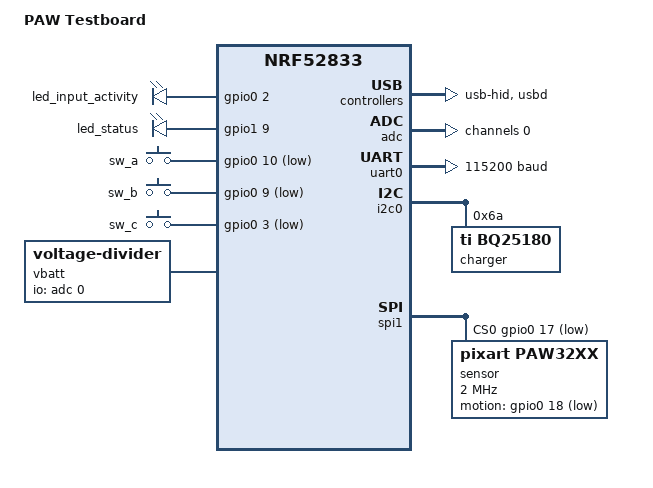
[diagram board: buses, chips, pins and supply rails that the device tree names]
/dts-v1/;
#include <nordic/nrf52833_qdaa.dtsi>
#include "paw_testboard-pinctrl.dtsi"
#include <zephyr/dt-bindings/input/input-event-codes.h>
#include <dt-bindings/hid.h>

/ {
	model = "PAW Testboard";
	compatible = "balto,paw-testboard";

	chosen {
		zephyr,console = &uart0;
		zephyr,shell-uart = &uart0;
		zephyr,sram = &sram0;
		zephyr,flash = &flash0;
		zephyr,code-partition = &slot0_partition;
	};

	leds {
		compatible = "gpio-leds";
		led_input_activity: led_b {
			gpios = <&gpio0 2 GPIO_ACTIVE_HIGH>;
		};
		led_status: led_a {
			gpios = <&gpio1 9 GPIO_ACTIVE_HIGH>;
		};
	};

	buttons: buttons {
		compatible = "gpio-keys";
		sw_a {
			gpios = <&gpio0 10 (GPIO_PULL_UP | GPIO_ACTIVE_LOW)>;
			zephyr,code = <INPUT_BTN_LEFT>;
		};
		sw_b {
			gpios = <&gpio0 9 (GPIO_PULL_UP | GPIO_ACTIVE_LOW)>;
			zephyr,code = <INPUT_BTN_MIDDLE>;
		};
		sw_c {
			gpios = <&gpio0 3 (GPIO_PULL_UP | GPIO_ACTIVE_LOW)>;
			zephyr,code = <INPUT_BTN_RIGHT>;
		};
	};

	vbatt: vbatt {
		compatible = "voltage-divider";
		io-channels = <&adc 0>;
		output-ohms = <(560 * 1000)>;
		full-ohms = <(560 * 1000 * 2)>;
	};

	hid {
		compatible = "hid";
		input {
			hid-mouse {
				compatible = "hid-mouse";
				input = <&paw &buttons>;
				input-id = <1>;
				report = <HID_MOUSE_REPORT(1)>;
			};
		};
		output {
			hid-hog {
				compatible = "hid-hog";
			};
			usb-hid {
				compatible = "usb-hid";
				usb-hid-dev = <&hid_dev_0>;
			};
		};
	};

	hid_dev_0: hid_dev_0 {
		compatible = "zephyr,hid-device";
		interface-name = "HID0";
		in-report-size = <16>;
		in-polling-period-us = <1000>;
	};

	ble-unpair {
		input = <&buttons>;
		compatible = "ble-unpair";
		key-a = <INPUT_BTN_LEFT>;
		key-b = <INPUT_BTN_RIGHT>;
	};
};

&uicr {
	nfct-pins-as-gpios;
};

&adc {
	status = "okay";
	#address-cells = <1>;
	#size-cells = <0>;

	channel@0 {
		reg = <0>;
		zephyr,gain = "ADC_GAIN_1_6";
		zephyr,reference = "ADC_REF_INTERNAL";
		zephyr,acquisition-time = <ADC_ACQ_TIME(ADC_ACQ_TIME_MICROSECONDS, 40)>;
		zephyr,input-positive = <NRF_SAADC_AIN2>;
		zephyr,resolution = <10>;
	};
};

&gpiote {
	status = "okay";
};

&gpio0 {
	status = "okay";
};

&gpio1 {
	status = "okay";
};

&uart0 {
	compatible = "nordic,nrf-uarte";
	status = "okay";
	current-speed = <115200>;
	pinctrl-0 = <&uart0_default>;
	pinctrl-1 = <&uart0_sleep>;
	pinctrl-names = "default", "sleep";
};

&i2c0 {
	compatible = "nordic,nrf-twi";
	status = "okay";
	pinctrl-0 = <&i2c0_default>;
	pinctrl-1 = <&i2c0_sleep>;
	pinctrl-names = "default", "sleep";

	charger: bq25180@6a {
		compatible = "ti,bq25180";
		reg = <0x6a>;
		constant-charge-current-max-microamp = <500000>;
	};
};

&spi1 {
	compatible = "nordic,nrf-spi";
	status = "okay";
	pinctrl-0 = <&spi1_default>;
	pinctrl-1 = <&spi1_sleep>;
	pinctrl-names = "default", "sleep";

	cs-gpios = <&gpio0 17 GPIO_ACTIVE_LOW>;

	sensor: paw: paw3222@0 {
		compatible = "pixart,paw32xx";
		reg = <0>;
		spi-max-frequency = <DT_FREQ_M(2)>;
		motion-gpios = <&gpio0 18 GPIO_ACTIVE_LOW>;
		zephyr,axis-x = <INPUT_REL_X>;
		zephyr,axis-y = <INPUT_REL_Y>;
		res-cpi = <800>;
		invert-y;
	};
};

&flash0 {
	partitions {
		compatible = "fixed-partitions";
		#address-cells = <1>;
		#size-cells = <1>;

		boot_partition: partition@0 {
			label = "mcuboot";
			reg = <0x00000000 0xC000>;
		};
		slot0_partition: partition@c000 {
			label = "image-0";
			reg = <0x0000C000 0x37000>;
		};
		slot1_partition: partition@43000 {
			label = "image-1";
			reg = <0x00043000 0x37000>;
		};
		storage_partition: partition@7a000 {
			label = "storage";
			reg = <0x0007A000 0x00006000>;
		};
	};
};

zephyr_udc0: &usbd {
	compatible = "nordic,nrf-usbd";
	status = "okay";
};
